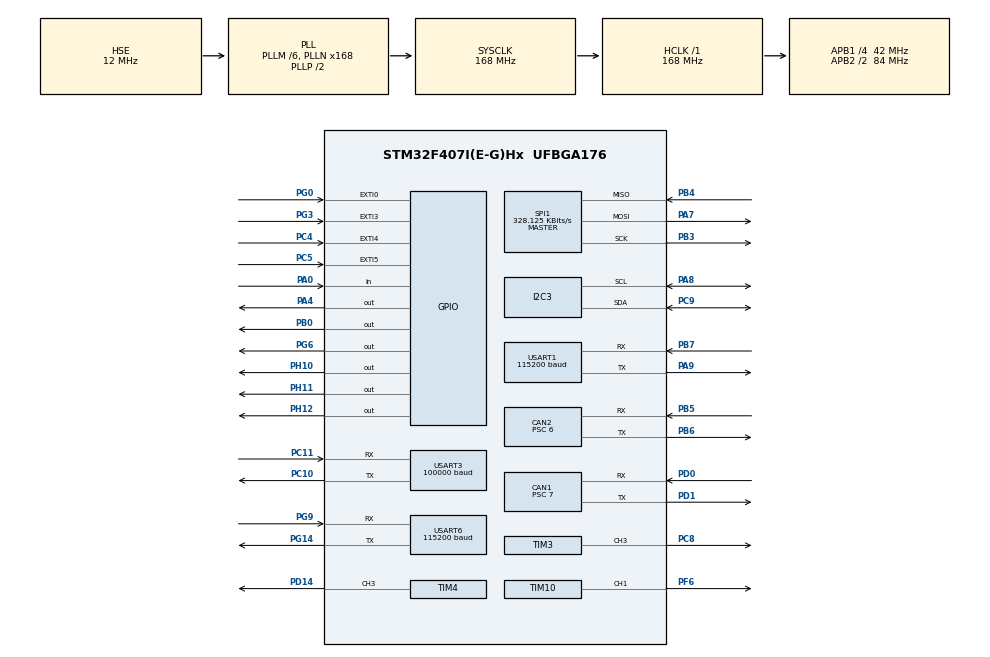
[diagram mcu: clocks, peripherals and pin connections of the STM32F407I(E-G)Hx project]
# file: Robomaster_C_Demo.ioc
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CAN1.BS1=CAN_BS1_5TQ
CAN1.BS2=CAN_BS2_6TQ
CAN1.CalculateBaudRate=499999
CAN1.CalculateTimeBit=2000
CAN1.CalculateTimeQuantum=166.66666666666669
CAN1.Prescaler=7
CAN2.ABOM=ENABLE
CAN2.AWUM=ENABLE
CAN2.BS1=CAN_BS1_3TQ
CAN2.BS2=CAN_BS2_3TQ
CAN2.CalculateBaudRate=1000000
CAN2.CalculateTimeBit=1000
CAN2.CalculateTimeQuantum=142.85714285714286
CAN2.Prescaler=6
Dma.Request0=USART1_RX
Dma.Request1=USART6_RX
Dma.Request2=USART3_RX
Dma.Request3=USART6_TX
Dma.Request4=USART1_TX
Dma.Request5=SPI1_RX
Dma.Request6=SPI1_TX
Dma.SPI1_RX.5.Direction=DMA_PERIPH_TO_MEMORY
Dma.SPI1_RX.5.FIFOMode=DMA_FIFOMODE_DISABLE
Dma.SPI1_RX.5.Instance=DMA2_Stream2
Dma.SPI1_RX.5.MemDataAlignment=DMA_MDATAALIGN_BYTE
Dma.SPI1_RX.5.MemInc=DMA_MINC_ENABLE
Dma.SPI1_RX.5.Mode=DMA_NORMAL
Dma.SPI1_RX.5.PeriphDataAlignment=DMA_PDATAALIGN_BYTE
Dma.SPI1_RX.5.PeriphInc=DMA_PINC_DISABLE
Dma.SPI1_RX.5.Priority=DMA_PRIORITY_VERY_HIGH
Dma.SPI1_TX.6.Direction=DMA_MEMORY_TO_PERIPH
Dma.SPI1_TX.6.FIFOMode=DMA_FIFOMODE_DISABLE
Dma.SPI1_TX.6.Instance=DMA2_Stream3
Dma.SPI1_TX.6.MemDataAlignment=DMA_MDATAALIGN_BYTE
Dma.SPI1_TX.6.MemInc=DMA_MINC_ENABLE
Dma.SPI1_TX.6.Mode=DMA_NORMAL
Dma.SPI1_TX.6.PeriphDataAlignment=DMA_PDATAALIGN_BYTE
Dma.SPI1_TX.6.PeriphInc=DMA_PINC_DISABLE
Dma.SPI1_TX.6.Priority=DMA_PRIORITY_HIGH
Dma.USART1_RX.0.Direction=DMA_PERIPH_TO_MEMORY
Dma.USART1_RX.0.FIFOMode=DMA_FIFOMODE_DISABLE
Dma.USART1_RX.0.Instance=DMA2_Stream5
Dma.USART1_RX.0.MemDataAlignment=DMA_MDATAALIGN_BYTE
Dma.USART1_RX.0.MemInc=DMA_MINC_ENABLE
Dma.USART1_RX.0.Mode=DMA_NORMAL
Dma.USART1_RX.0.PeriphDataAlignment=DMA_PDATAALIGN_BYTE
Dma.USART1_RX.0.PeriphInc=DMA_PINC_DISABLE
Dma.USART1_RX.0.Priority=DMA_PRIORITY_HIGH
Dma.USART1_TX.4.Direction=DMA_MEMORY_TO_PERIPH
Dma.USART1_TX.4.FIFOMode=DMA_FIFOMODE_DISABLE
Dma.USART1_TX.4.Instance=DMA2_Stream7
Dma.USART1_TX.4.MemDataAlignment=DMA_MDATAALIGN_BYTE
Dma.USART1_TX.4.MemInc=DMA_MINC_ENABLE
Dma.USART1_TX.4.Mode=DMA_NORMAL
Dma.USART1_TX.4.PeriphDataAlignment=DMA_PDATAALIGN_BYTE
Dma.USART1_TX.4.PeriphInc=DMA_PINC_DISABLE
Dma.USART1_TX.4.Priority=DMA_PRIORITY_HIGH
Dma.USART3_RX.2.Direction=DMA_PERIPH_TO_MEMORY
Dma.USART3_RX.2.FIFOMode=DMA_FIFOMODE_DISABLE
Dma.USART3_RX.2.Instance=DMA1_Stream1
Dma.USART3_RX.2.MemDataAlignment=DMA_MDATAALIGN_BYTE
Dma.USART3_RX.2.MemInc=DMA_MINC_ENABLE
Dma.USART3_RX.2.Mode=DMA_CIRCULAR
Dma.USART3_RX.2.PeriphDataAlignment=DMA_PDATAALIGN_BYTE
Dma.USART3_RX.2.PeriphInc=DMA_PINC_DISABLE
Dma.USART3_RX.2.Priority=DMA_PRIORITY_VERY_HIGH
Dma.USART6_RX.1.Direction=DMA_PERIPH_TO_MEMORY
Dma.USART6_RX.1.FIFOMode=DMA_FIFOMODE_DISABLE
Dma.USART6_RX.1.Instance=DMA2_Stream1
Dma.USART6_RX.1.MemDataAlignment=DMA_MDATAALIGN_BYTE
Dma.USART6_RX.1.MemInc=DMA_MINC_ENABLE
Dma.USART6_RX.1.Mode=DMA_NORMAL
Dma.USART6_RX.1.PeriphDataAlignment=DMA_PDATAALIGN_BYTE
Dma.USART6_RX.1.PeriphInc=DMA_PINC_DISABLE
Dma.USART6_RX.1.Priority=DMA_PRIORITY_HIGH
Dma.USART6_TX.3.Direction=DMA_MEMORY_TO_PERIPH
Dma.USART6_TX.3.FIFOMode=DMA_FIFOMODE_DISABLE
Dma.USART6_TX.3.Instance=DMA2_Stream6
Dma.USART6_TX.3.MemDataAlignment=DMA_MDATAALIGN_BYTE
Dma.USART6_TX.3.MemInc=DMA_MINC_ENABLE
Dma.USART6_TX.3.Mode=DMA_NORMAL
Dma.USART6_TX.3.PeriphDataAlignment=DMA_PDATAALIGN_BYTE
Dma.USART6_TX.3.PeriphInc=DMA_PINC_DISABLE
Dma.USART6_TX.3.Priority=DMA_PRIORITY_HIGH
FREERTOS.INCLUDE_xTaskGetHandle=1
FREERTOS.Tasks01=StartDebugTask,0,128,StartDebug,Default,NULL,Dynamic,NULL,NULL;RemoteControlTa,-1,512,RemoteControl,Default,NULL,Dynamic,NULL,NULL;GIM_Output,0,512,GIM_OutputTask,Default,NULL,Dynamic,NULL,NULL;GIM6010Init,0,256,GIM6010InitTask,Default,NULL,Dynamic,NULL,NULL
I2C3.I2C_Mode=I2C_Fast
Mcu.Family=STM32F4
Mcu.Name=STM32F407I(E-G)Hx
Mcu.Package=UFBGA176
NVIC.CAN1_RX0_IRQn=true\:5\:0\:false\:false\:true\:true\:true\:true\:true
NVIC.CAN2_RX0_IRQn=true\:5\:0\:false\:false\:true\:true\:true\:true\:true
NVIC.DMA1_Stream1_IRQn=true\:5\:0\:false\:false\:true\:true\:false\:true\:true
NVIC.DMA2_Stream1_IRQn=true\:5\:0\:false\:false\:true\:true\:false\:true\:true
NVIC.DMA2_Stream2_IRQn=true\:5\:0\:false\:false\:true\:true\:false\:true\:true
NVIC.DMA2_Stream3_IRQn=true\:5\:0\:false\:false\:true\:true\:false\:true\:true
NVIC.DMA2_Stream5_IRQn=true\:5\:0\:false\:false\:true\:false\:false\:true\:true
NVIC.DMA2_Stream6_IRQn=true\:5\:0\:false\:false\:true\:true\:false\:true\:true
NVIC.DMA2_Stream7_IRQn=true\:5\:0\:false\:false\:true\:true\:false\:true\:true
NVIC.EXTI0_IRQn=true\:6\:0\:true\:false\:true\:true\:true\:true\:true
NVIC.EXTI3_IRQn=true\:5\:0\:false\:false\:true\:true\:true\:true\:true
NVIC.EXTI4_IRQn=true\:5\:0\:false\:false\:true\:true\:true\:true\:true
NVIC.EXTI9_5_IRQn=true\:5\:0\:false\:false\:true\:true\:true\:true\:true
NVIC.PriorityGroup=NVIC_PRIORITYGROUP_4
NVIC.TIM2_IRQn=true\:5\:0\:false\:false\:true\:true\:true\:true\:true
NVIC.USART1_IRQn=true\:5\:0\:false\:false\:true\:true\:true\:true\:true
NVIC.USART3_IRQn=true\:5\:0\:false\:false\:true\:true\:true\:true\:true
NVIC.USART6_IRQn=true\:5\:0\:false\:false\:true\:true\:true\:true\:true
PA0-WKUP.GPIO_PuPd=GPIO_PULLDOWN
PA0-WKUP.Signal=GPIO_Input
PA13.Mode=Serial_Wire
PA13.Signal=SYS_JTMS-SWDIO
PA14.Mode=Serial_Wire
PA14.Signal=SYS_JTCK-SWCLK
PA4.GPIO_PuPd=GPIO_PULLUP
PA4.GPIO_Speed=GPIO_SPEED_FREQ_HIGH
PA4.PinState=GPIO_PIN_SET
PA4.Signal=GPIO_Output
PA7.GPIO_PuPd=GPIO_PULLUP
PA7.Mode=Full_Duplex_Master
PA7.Signal=SPI1_MOSI
PA8.GPIO_Pu=GPIO_PULLUP
PA8.Mode=I2C
PA8.Signal=I2C3_SCL
PA9.Mode=Asynchronous
PA9.Signal=USART1_TX
PB0.GPIO_PuPd=GPIO_PULLUP
PB0.GPIO_Speed=GPIO_SPEED_FREQ_HIGH
PB0.PinState=GPIO_PIN_SET
PB0.Signal=GPIO_Output
PB3.GPIO_PuPd=GPIO_PULLUP
PB3.Mode=Full_Duplex_Master
PB3.Signal=SPI1_SCK
PB4.GPIO_PuPd=GPIO_PULLUP
PB4.Mode=Full_Duplex_Master
PB4.Signal=SPI1_MISO
PB5.Mode=CAN_Activate
PB5.Signal=CAN2_RX
PB6.Mode=CAN_Activate
PB6.Signal=CAN2_TX
PB7.Mode=Asynchronous
PB7.Signal=USART1_RX
PC10.Mode=Asynchronous
PC10.Signal=USART3_TX
PC11.Mode=Asynchronous
PC11.Signal=USART3_RX
PC4.GPIO_ModeDefaultEXTI=GPIO_MODE_IT_FALLING
PC4.GPIO_PuPd=GPIO_PULLUP
PC4.Signal=GPXTI4
PC5.GPIO_ModeDefaultEXTI=GPIO_MODE_IT_FALLING
PC5.GPIO_PuPd=GPIO_PULLUP
PC5.Signal=GPXTI5
PC8.Signal=S_TIM3_CH3
PC9.GPIO_Pu=GPIO_PULLUP
PC9.Mode=I2C
PC9.Signal=I2C3_SDA
PD0.Mode=CAN_Activate
PD0.Signal=CAN1_RX
PD1.Mode=CAN_Activate
PD1.Signal=CAN1_TX
PD14.Signal=S_TIM4_CH3
PF6.GPIO_PuPd=GPIO_PULLUP
PF6.GPIO_Speed=GPIO_SPEED_FREQ_HIGH
PF6.Signal=S_TIM10_CH1
PG0.GPIO_ModeDefaultEXTI=GPIO_MODE_IT_FALLING
PG0.GPIO_PuPd=GPIO_PULLUP
PG0.Signal=GPXTI0
PG14.Mode=Asynchronous
PG14.Signal=USART6_TX
PG3.GPIO_ModeDefaultEXTI=GPIO_MODE_IT_FALLING
PG3.GPIO_PuPd=GPIO_PULLUP
PG3.Signal=GPXTI3
PG6.GPIO_PuPd=GPIO_PULLUP
PG6.GPIO_Speed=GPIO_SPEED_FREQ_MEDIUM
PG6.PinState=GPIO_PIN_SET
PG6.Signal=GPIO_Output
PG9.Mode=Asynchronous
PG9.Signal=USART6_RX
PH0-OSC_IN.Mode=HSE-External-Oscillator
PH0-OSC_IN.Signal=RCC_OSC_IN
PH1-OSC_OUT.Mode=HSE-External-Oscillator
PH1-OSC_OUT.Signal=RCC_OSC_OUT
PH10.PinState=GPIO_PIN_SET
PH10.Signal=GPIO_Output
PH11.PinState=GPIO_PIN_SET
PH11.Signal=GPIO_Output
PH12.PinState=GPIO_PIN_SET
PH12.Signal=GPIO_Output
ProjectManager.HeapSize=0x200
ProjectManager.StackSize=0x400
ProjectManager.TargetToolchain=STM32CubeIDE
RCC.48MHZClocksFreq_Value=84000000
RCC.AHBFreq_Value=168000000
RCC.APB1CLKDivider=RCC_HCLK_DIV4
RCC.APB1Freq_Value=42000000
RCC.APB1TimFreq_Value=84000000
RCC.APB2CLKDivider=RCC_HCLK_DIV2
RCC.APB2Freq_Value=84000000
RCC.APB2TimFreq_Value=168000000
RCC.CortexFreq_Value=168000000
RCC.HCLKFreq_Value=168000000
RCC.HSE_VALUE=12000000
RCC.HSI_VALUE=16000000
RCC.LSE_VALUE=32768
RCC.PLLM=6
RCC.PLLN=168
RCC.PLLSourceVirtual=RCC_PLLSOURCE_HSE
RCC.SYSCLKFreq_VALUE=168000000
RCC.SYSCLKSource=RCC_SYSCLKSOURCE_PLLCLK
RCC.VCOOutputFreq_Value=336000000
SH.S_TIM10_CH1.0=TIM10_CH1,PWM Generation1 CH1
SH.S_TIM3_CH3.0=TIM3_CH3,PWM Generation3 CH3
SH.S_TIM4_CH3.0=TIM4_CH3,PWM Generation3 CH3
SPI1.BaudRatePrescaler=SPI_BAUDRATEPRESCALER_256
SPI1.CLKPhase=SPI_PHASE_2EDGE
SPI1.CLKPolarity=SPI_POLARITY_HIGH
SPI1.CalculateBaudRate=328.125 KBits/s
SPI1.Direction=SPI_DIRECTION_2LINES
SPI1.Mode=SPI_MODE_MASTER
SPI1.VirtualType=VM_MASTER
STMicroelectronics.X-CUBE-ALGOBUILD.1.3.0.LibraryCcDSPOoLibraryJjDSPOoLibrary=true
TIM10.Channel=TIM_CHANNEL_1
TIM10.Period=4999
TIM2.AutoReloadPreload=TIM_AUTORELOAD_PRELOAD_ENABLE
TIM2.Period=168-1
TIM2.Prescaler=1000-1
TIM3.Channel-PWM\ Generation3\ CH3=TIM_CHANNEL_3
TIM3.Period=1679
TIM3.Prescaler=9
TIM4.Channel-PWM\ Generation3\ CH3=TIM_CHANNEL_3
TIM4.Period=7000-1
TIM4.Prescaler=6-1
USART1.BaudRate=115200
USART1.Mode=MODE_TX_RX
USART1.VirtualMode=VM_ASYNC
USART1.WordLength=WORDLENGTH_8B
USART3.BaudRate=100000
USART3.Mode=MODE_RX
USART3.Parity=PARITY_EVEN
USART3.VirtualMode=VM_ASYNC
USART3.WordLength=WORDLENGTH_8B
USART6.BaudRate=115200
USART6.VirtualMode=VM_ASYNC
VP_FREERTOS_VS_CMSIS_V1.Mode=CMSIS_V1
VP_STMicroelectronics.X-CUBE-ALGOBUILD_VS_DSPOoLibraryJjLibrary_1.3.0_1.3.0.Mode=DSPOoLibraryJjLibrary
VP_TIM10_VS_ClockSourceINT.Mode=Enable_Timer
VP_TIM2_VS_ClockSourceINT.Mode=Internal
VP_TIM3_VS_ClockSourceINT.Mode=Internal
VP_TIM4_VS_ClockSourceINT.Mode=Internal
board=custom

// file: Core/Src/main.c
/* USER CODE BEGIN Header */
/**
  ******************************************************************************
  * @file           : main.c
  * @brief          : Main program body
  ******************************************************************************
  * @attention
  *
  * Copyright (c) 2023 STMicroelectronics.
  * All rights reserved.
  *
  * This software is licensed under terms that can be found in the LICENSE file
  * in the root directory of this software component.
  * If no LICENSE file comes with this software, it is provided AS-IS.
  *
  ******************************************************************************
  */
/* USER CODE END Header */
#include "main.h"
#include "cmsis_os.h"
#include "can.h"
#include "dma.h"
#include "i2c.h"
#include "spi.h"
#include "tim.h"
#include "usart.h"
#include "gpio.h"

void SystemClock_Config(void);
void MX_FREERTOS_Init(void);

int main(void)
{

  /* MCU Configuration--------------------------------------------------------*/

  /* Reset of all peripherals, Initializes the Flash interface and the Systick. */
  HAL_Init();

  /* Configure the system clock */
  SystemClock_Config();

  /* Initialize all configured peripherals */
  MX_GPIO_Init();
  MX_DMA_Init();
  MX_TIM3_Init();
  MX_USART1_UART_Init();
  MX_USART6_UART_Init();
  MX_CAN1_Init();
  MX_CAN2_Init();
  MX_USART3_UART_Init();
  MX_SPI1_Init();
  MX_TIM4_Init();
  MX_TIM10_Init();
  MX_TIM2_Init();
  MX_I2C3_Init();

  /* Call init function for freertos objects (in freertos.c) */
  MX_FREERTOS_Init();

  /* Start scheduler */
  osKernelStart();

  /* We should never get here as control is now taken by the scheduler */
  /* Infinite loop */
  while (1)
  {

  }
}

void SystemClock_Config(void)
{
  RCC_OscInitTypeDef RCC_OscInitStruct = {0};
  RCC_ClkInitTypeDef RCC_ClkInitStruct = {0};

  /** Configure the main internal regulator output voltage
  */
  __HAL_RCC_PWR_CLK_ENABLE();
  __HAL_PWR_VOLTAGESCALING_CONFIG(PWR_REGULATOR_VOLTAGE_SCALE1);

  /** Initializes the RCC Oscillators according to the specified parameters
  * in the RCC_OscInitTypeDef structure.
  */
  RCC_OscInitStruct.OscillatorType = RCC_OSCILLATORTYPE_HSE;
  RCC_OscInitStruct.HSEState = RCC_HSE_ON;
  RCC_OscInitStruct.PLL.PLLState = RCC_PLL_ON;
  RCC_OscInitStruct.PLL.PLLSource = RCC_PLLSOURCE_HSE;
  RCC_OscInitStruct.PLL.PLLM = 6;
  RCC_OscInitStruct.PLL.PLLN = 168;
  RCC_OscInitStruct.PLL.PLLP = RCC_PLLP_DIV2;
  RCC_OscInitStruct.PLL.PLLQ = 4;
  if (HAL_RCC_OscConfig(&RCC_OscInitStruct) != HAL_OK)
  {
    Error_Handler();
  }

  /** Initializes the CPU, AHB and APB buses clocks
  */
  RCC_ClkInitStruct.ClockType = RCC_CLOCKTYPE_HCLK|RCC_CLOCKTYPE_SYSCLK
                              |RCC_CLOCKTYPE_PCLK1|RCC_CLOCKTYPE_PCLK2;
  RCC_ClkInitStruct.SYSCLKSource = RCC_SYSCLKSOURCE_PLLCLK;
  RCC_ClkInitStruct.AHBCLKDivider = RCC_SYSCLK_DIV1;
  RCC_ClkInitStruct.APB1CLKDivider = RCC_HCLK_DIV4;
  RCC_ClkInitStruct.APB2CLKDivider = RCC_HCLK_DIV2;

  if (HAL_RCC_ClockConfig(&RCC_ClkInitStruct, FLASH_LATENCY_5) != HAL_OK)
  {
    Error_Handler();
  }
}

void Error_Handler(void)
{
  __disable_irq();
  while (1)
  {
  }
}

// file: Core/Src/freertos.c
/* USER CODE BEGIN Header */
/**
  ******************************************************************************
  * File Name          : freertos.c
  * Description        : Code for freertos applications
  ******************************************************************************
  * @attention
  *
  * Copyright (c) 2023 STMicroelectronics.
  * All rights reserved.
  *
  * This software is licensed under terms that can be found in the LICENSE file
  * in the root directory of this software component.
  * If no LICENSE file comes with this software, it is provided AS-IS.
  *
  ******************************************************************************
  */
/* USER CODE END Header */

#include "FreeRTOS.h"
#include "task.h"
#include "main.h"
#include "cmsis_os.h"

/* USER CODE BEGIN Includes */
#include "imu.h"
/* USER CODE END Includes */

/* USER CODE BEGIN PTD */
osThreadId imuTaskHandle;
/* USER CODE END PTD */

/* USER CODE BEGIN PM */
uint8_t standup_flag = 0;
/* USER CODE END PM */

/* USER CODE BEGIN Variables */
fp32 gyro[3];
fp32 accel[3];
fp32 temp;

/* USER CODE END Variables */
osThreadId StartDebugTaskHandle;
osThreadId RemoteControlTaHandle;
osThreadId GIM_OutputHandle;
osThreadId GIM6010InitHandle;

void StartDebug(void const * argument);
void RemoteControl(void const * argument);
void GIM_OutputTask(void const * argument);
void GIM6010InitTask(void const * argument);

void MX_FREERTOS_Init(void); /* (MISRA C 2004 rule 8.1) */

/* GetIdleTaskMemory prototype (linked to static allocation support) */
void vApplicationGetIdleTaskMemory( StaticTask_t **ppxIdleTaskTCBBuffer, StackType_t **ppxIdleTaskStackBuffer, uint32_t *pulIdleTaskStackSize );

/* USER CODE BEGIN GET_IDLE_TASK_MEMORY */
static StaticTask_t xIdleTaskTCBBuffer;
static StackType_t xIdleStack[configMINIMAL_STACK_SIZE];

void vApplicationGetIdleTaskMemory( StaticTask_t **ppxIdleTaskTCBBuffer, StackType_t **ppxIdleTaskStackBuffer, uint32_t *pulIdleTaskStackSize )
{
  *ppxIdleTaskTCBBuffer = &xIdleTaskTCBBuffer;
  *ppxIdleTaskStackBuffer = &xIdleStack[0];
  *pulIdleTaskStackSize = configMINIMAL_STACK_SIZE;
  /* place for user code */
}
/* USER CODE END GET_IDLE_TASK_MEMORY */

void MX_FREERTOS_Init(void) {

  /* USER CODE BEGIN RTOS_QUEUES */
  /* add queues, ... */
    osThreadDef(imuTask, INS_task, osPriorityRealtime, 0, 1024);
    imuTaskHandle = osThreadCreate(osThread(imuTask), NULL);
  /* USER CODE END RTOS_QUEUES */

  /* Create the thread(s) */
  /* definition and creation of StartDebugTask */
  osThreadDef(StartDebugTask, StartDebug, osPriorityNormal, 0, 128);
  StartDebugTaskHandle = osThreadCreate(osThread(StartDebugTask), NULL);

  /* definition and creation of RemoteControlTa */
  osThreadDef(RemoteControlTa, RemoteControl, osPriorityBelowNormal, 0, 512);
  RemoteControlTaHandle = osThreadCreate(osThread(RemoteControlTa), NULL);

  /* definition and creation of GIM_Output */
  osThreadDef(GIM_Output, GIM_OutputTask, osPriorityNormal, 0, 512);
  GIM_OutputHandle = osThreadCreate(osThread(GIM_Output), NULL);

  /* definition and creation of GIM6010Init */
  osThreadDef(GIM6010Init, GIM6010InitTask, osPriorityNormal, 0, 256);
  GIM6010InitHandle = osThreadCreate(osThread(GIM6010Init), NULL);

  /* USER CODE BEGIN RTOS_THREADS */
  /* add threads, ... */
    vTaskResume(StartDebugTaskHandle);
    vTaskSuspend(GIM_OutputHandle);
    vTaskSuspend(RemoteControlTaHandle);
    vTaskSuspend(GIM6010InitHandle);
  /* USER CODE END RTOS_THREADS */

}

void StartDebug(void const * argument)
{
  /* USER CODE BEGIN StartDebug */
    Mymain_Init();

    vTaskResume(GIM6010InitHandle);
  /* Infinite loop */
  for(;;)
  {
      LED_Flash();

      osDelay(500);
  }
  /* USER CODE END StartDebug */
}

void RemoteControl(void const * argument)
{
  /* USER CODE BEGIN RemoteControl */
    remote_control_init();

    RC_ctrl_t *local_rc_ctrl;
    local_rc_ctrl = get_remote_control_point();
  /* Infinite loop */
  for(;;)
  {
      /*************
       *    遥控器只有左方拨档开关有用，最上方一档为蹲伏即上电状态，中间档为直立
       *    下方档为运动开关，右方摇杆为控制运动
       *
       ****************/
      Posture_Controller(local_rc_ctrl);

      osDelay(5);
  }
  /* USER CODE END RemoteControl */
}

void GIM_OutputTask(void const * argument)
{
  /* USER CODE BEGIN GIM_OutputTask */
  /* Infinite loop */
  for(;;)
  {
      Leg_Output();

    osDelay(5);
  }
  /* USER CODE END GIM_OutputTask */
}

void GIM6010InitTask(void const * argument)
{
  /* USER CODE BEGIN GIM6010InitTask */
    Motor_Init();

    Read_beginPos(); //读取电机上电时候的初始位置
    Eight_PID_Init();
    ChangeGainOfPID(5.0f,0.0f,0.0f,0.0f);//输出化PID

    vTaskResume(RemoteControlTaHandle);
    vTaskResume(GIM_OutputHandle);
    vTaskSuspend(NULL);
  /* Infinite loop */
  for(;;)
  {
    osDelay(1);
  }
  /* USER CODE END GIM6010InitTask */
}
